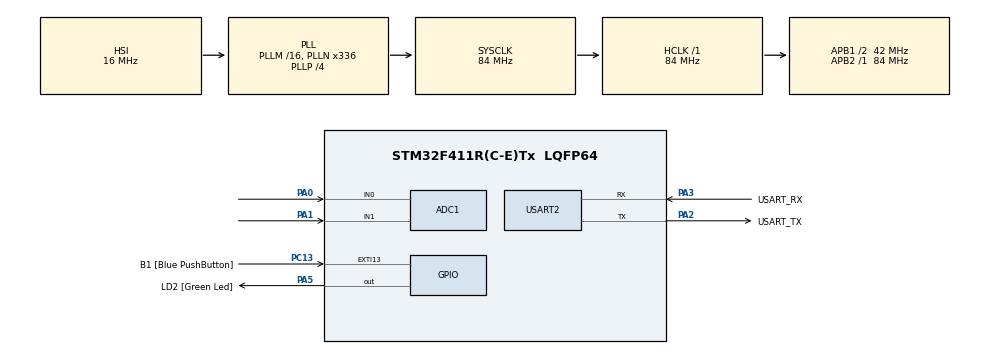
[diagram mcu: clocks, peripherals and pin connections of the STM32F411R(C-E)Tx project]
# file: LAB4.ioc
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ADC1.Channel-0\#ChannelRegularConversion=ADC_CHANNEL_0
ADC1.Channel-1\#ChannelRegularConversion=ADC_CHANNEL_1
ADC1.Channel-2\#ChannelRegularConversion=ADC_CHANNEL_TEMPSENSOR
ADC1.Channel-3\#ChannelRegularConversion=ADC_CHANNEL_VREFINT
ADC1.ContinuousConvMode=ENABLE
ADC1.DMAContinuousRequests=ENABLE
ADC1.NbrOfConversion=4
ADC1.NbrOfConversionFlag=1
ADC1.Rank-0\#ChannelRegularConversion=1
ADC1.Rank-1\#ChannelRegularConversion=2
ADC1.Rank-2\#ChannelRegularConversion=3
ADC1.Rank-3\#ChannelRegularConversion=4
ADC1.SamplingTime-0\#ChannelRegularConversion=ADC_SAMPLETIME_480CYCLES
ADC1.SamplingTime-1\#ChannelRegularConversion=ADC_SAMPLETIME_480CYCLES
ADC1.SamplingTime-2\#ChannelRegularConversion=ADC_SAMPLETIME_480CYCLES
ADC1.SamplingTime-3\#ChannelRegularConversion=ADC_SAMPLETIME_480CYCLES
ADC1.ScanConvMode=ENABLE
ADC1.master=1
Dma.ADC1.0.Direction=DMA_PERIPH_TO_MEMORY
Dma.ADC1.0.FIFOMode=DMA_FIFOMODE_DISABLE
Dma.ADC1.0.Instance=DMA2_Stream0
Dma.ADC1.0.MemDataAlignment=DMA_MDATAALIGN_WORD
Dma.ADC1.0.MemInc=DMA_MINC_ENABLE
Dma.ADC1.0.Mode=DMA_CIRCULAR
Dma.ADC1.0.PeriphDataAlignment=DMA_PDATAALIGN_WORD
Dma.ADC1.0.PeriphInc=DMA_PINC_DISABLE
Dma.ADC1.0.Priority=DMA_PRIORITY_LOW
Dma.Request0=ADC1
Mcu.Family=STM32F4
Mcu.Name=STM32F411R(C-E)Tx
Mcu.Package=LQFP64
NVIC.DMA2_Stream0_IRQn=true\:0\:0\:false\:false\:true\:false\:true
NVIC.EXTI15_10_IRQn=true\:0\:0\:false\:false\:true\:true\:true
NVIC.PriorityGroup=NVIC_PRIORITYGROUP_0
PA0-WKUP.Signal=ADCx_IN0
PA1.Signal=ADCx_IN1
PA13.GPIO_Label=TMS
PA13.Mode=Serial_Wire
PA13.Signal=SYS_JTMS-SWDIO
PA14.GPIO_Label=TCK
PA14.Mode=Serial_Wire
PA14.Signal=SYS_JTCK-SWCLK
PA2.GPIO_Label=USART_TX
PA2.Mode=Asynchronous
PA2.Signal=USART2_TX
PA3.GPIO_Label=USART_RX
PA3.Mode=Asynchronous
PA3.Signal=USART2_RX
PA5.GPIO_Label=LD2 [Green Led]
PA5.Signal=GPIO_Output
PB3.GPIO_Label=SWO
PB3.Signal=SYS_JTDO-SWO
PC13-ANTI_TAMP.GPIO_Label=B1 [Blue PushButton]
PC13-ANTI_TAMP.GPIO_ModeDefaultEXTI=GPIO_MODE_IT_RISING_FALLING
PC13-ANTI_TAMP.GPIO_PuPd=GPIO_PULLUP
PC13-ANTI_TAMP.Signal=GPXTI13
PC14-OSC32_IN.Mode=LSE-External-Oscillator
PC14-OSC32_IN.Signal=RCC_OSC32_IN
PC15-OSC32_OUT.Mode=LSE-External-Oscillator
PC15-OSC32_OUT.Signal=RCC_OSC32_OUT
PH0\ -\ OSC_IN.Mode=HSE-External-Clock-Source
PH0\ -\ OSC_IN.Signal=RCC_OSC_IN
PH1\ -\ OSC_OUT.Mode=HSE-External-Clock-Source
PH1\ -\ OSC_OUT.Signal=RCC_OSC_OUT
ProjectManager.HeapSize=0x200
ProjectManager.StackSize=0x400
ProjectManager.TargetToolchain=STM32CubeIDE
RCC.48MHZClocksFreq_Value=84000000
RCC.AHBFreq_Value=84000000
RCC.APB1CLKDivider=RCC_HCLK_DIV2
RCC.APB1Freq_Value=42000000
RCC.APB1TimFreq_Value=84000000
RCC.APB2Freq_Value=84000000
RCC.APB2TimFreq_Value=84000000
RCC.CortexFreq_Value=84000000
RCC.FLatency-AdvancedSettings=FLASH_LATENCY_2
RCC.HCLKFreq_Value=84000000
RCC.HSE_VALUE=8000000
RCC.HSI_VALUE=16000000
RCC.PLLN=336
RCC.PLLP=RCC_PLLP_DIV4
RCC.SYSCLKFreq_VALUE=84000000
RCC.SYSCLKSource=RCC_SYSCLKSOURCE_PLLCLK
RCC.VCOOutputFreq_Value=336000000
SH.ADCx_IN0.0=ADC1_IN0,IN0
SH.ADCx_IN1.0=ADC1_IN1,IN1
USART2.VirtualMode=VM_ASYNC
VP_ADC1_TempSens_Input.Mode=IN-TempSens
VP_ADC1_Vref_Input.Mode=IN-Vrefint
board=NUCLEO-F411RE

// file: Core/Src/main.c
/* USER CODE BEGIN Header */
/**
  ******************************************************************************
  * @file           : main.c
  * @brief          : Main program body
  ******************************************************************************
  * @attention
  *
  * <h2><center>&copy; Copyright (c) 2021 STMicroelectronics.
  * All rights reserved.</center></h2>
  *
  * This software component is licensed by ST under BSD 3-Clause license,
  * the "License"; You may not use this file except in compliance with the
  * License. You may obtain a copy of the License at:
  *                        opensource.org/licenses/BSD-3-Clause
  *
  ******************************************************************************
  */
/* USER CODE END Header */
#include "main.h"

ADC_HandleTypeDef hadc1;
DMA_HandleTypeDef hdma_adc1;

UART_HandleTypeDef huart2;

/* USER CODE BEGIN PV */
uint32_t ADCData[4] = {0}; //เ�?�?�?�?�?า�?�?ตัว�?�?ร
uint32_t timestamp = 0 ;
uint32_t timestamp2 = 0 ;
uint32_t timestamp3 = 0 ;
uint32_t timestamp4 = 0 ;
uint32_t timesum = 0 ;
int state = 0 ;
int mode = 0 ;
//GPIO_PinState Bluebutton[2] = 0 ;
/* USER CODE END PV */

void SystemClock_Config(void);
static void MX_GPIO_Init(void);
static void MX_DMA_Init(void);
static void MX_USART2_UART_Init(void);
static void MX_ADC1_Init(void);
/* USER CODE BEGIN PFP */
void Buttion();
void Button0();
void Buttion2() ;
/* USER CODE END PFP */

int main(void)
{

  /* MCU Configuration--------------------------------------------------------*/

  /* Reset of all peripherals, Initializes the Flash interface and the Systick. */
  HAL_Init();

  /* Configure the system clock */
  SystemClock_Config();

  /* Initialize all configured peripherals */
  MX_GPIO_Init();
  MX_DMA_Init();
  MX_USART2_UART_Init();
  MX_ADC1_Init();
  /* USER CODE BEGIN 2 */
  HAL_ADC_Start_DMA(&hadc1, ADCData, 4) ;
  HAL_GPIO_WritePin(GPIOA, GPIO_PIN_5, GPIO_PIN_SET);
  /* USER CODE END 2 */

  /* Infinite loop */
  /* USER CODE BEGIN WHILE */
  while (1)
  {

	  if(mode == 1){
		 if(HAL_GetTick() - timestamp >= timestamp2)
			{
				timestamp3 = HAL_GetTick() ;
				state = 1 ;
				HAL_GPIO_WritePin(GPIOA, GPIO_PIN_5, GPIO_PIN_SET);
				mode = 0 ;
			}

	 }
    /* USER CODE END WHILE */

  }
}

void SystemClock_Config(void)
{
  RCC_OscInitTypeDef RCC_OscInitStruct = {0};
  RCC_ClkInitTypeDef RCC_ClkInitStruct = {0};

  /** Configure the main internal regulator output voltage
  */
  __HAL_RCC_PWR_CLK_ENABLE();
  __HAL_PWR_VOLTAGESCALING_CONFIG(PWR_REGULATOR_VOLTAGE_SCALE1);
  /** Initializes the RCC Oscillators according to the specified parameters
  * in the RCC_OscInitTypeDef structure.
  */
  RCC_OscInitStruct.OscillatorType = RCC_OSCILLATORTYPE_HSI;
  RCC_OscInitStruct.HSIState = RCC_HSI_ON;
  RCC_OscInitStruct.HSICalibrationValue = RCC_HSICALIBRATION_DEFAULT;
  RCC_OscInitStruct.PLL.PLLState = RCC_PLL_ON;
  RCC_OscInitStruct.PLL.PLLSource = RCC_PLLSOURCE_HSI;
  RCC_OscInitStruct.PLL.PLLM = 16;
  RCC_OscInitStruct.PLL.PLLN = 336;
  RCC_OscInitStruct.PLL.PLLP = RCC_PLLP_DIV4;
  RCC_OscInitStruct.PLL.PLLQ = 4;
  if (HAL_RCC_OscConfig(&RCC_OscInitStruct) != HAL_OK)
  {
    Error_Handler();
  }
  /** Initializes the CPU, AHB and APB buses clocks
  */
  RCC_ClkInitStruct.ClockType = RCC_CLOCKTYPE_HCLK|RCC_CLOCKTYPE_SYSCLK
                              |RCC_CLOCKTYPE_PCLK1|RCC_CLOCKTYPE_PCLK2;
  RCC_ClkInitStruct.SYSCLKSource = RCC_SYSCLKSOURCE_PLLCLK;
  RCC_ClkInitStruct.AHBCLKDivider = RCC_SYSCLK_DIV1;
  RCC_ClkInitStruct.APB1CLKDivider = RCC_HCLK_DIV2;
  RCC_ClkInitStruct.APB2CLKDivider = RCC_HCLK_DIV1;

  if (HAL_RCC_ClockConfig(&RCC_ClkInitStruct, FLASH_LATENCY_2) != HAL_OK)
  {
    Error_Handler();
  }
}

static void MX_ADC1_Init(void)
{

  ADC_ChannelConfTypeDef sConfig = {0};

  /** Configure the global features of the ADC (Clock, Resolution, Data Alignment and number of conversion)
  */
  hadc1.Instance = ADC1;
  hadc1.Init.ClockPrescaler = ADC_CLOCK_SYNC_PCLK_DIV4;
  hadc1.Init.Resolution = ADC_RESOLUTION_12B;
  hadc1.Init.ScanConvMode = ENABLE;
  hadc1.Init.ContinuousConvMode = ENABLE;
  hadc1.Init.DiscontinuousConvMode = DISABLE;
  hadc1.Init.ExternalTrigConvEdge = ADC_EXTERNALTRIGCONVEDGE_NONE;
  hadc1.Init.ExternalTrigConv = ADC_SOFTWARE_START;
  hadc1.Init.DataAlign = ADC_DATAALIGN_RIGHT;
  hadc1.Init.NbrOfConversion = 4;
  hadc1.Init.DMAContinuousRequests = ENABLE;
  hadc1.Init.EOCSelection = ADC_EOC_SINGLE_CONV;
  if (HAL_ADC_Init(&hadc1) != HAL_OK)
  {
    Error_Handler();
  }
  /** Configure for the selected ADC regular channel its corresponding rank in the sequencer and its sample time.
  */
  sConfig.Channel = ADC_CHANNEL_0;
  sConfig.Rank = 1;
  sConfig.SamplingTime = ADC_SAMPLETIME_480CYCLES;
  if (HAL_ADC_ConfigChannel(&hadc1, &sConfig) != HAL_OK)
  {
    Error_Handler();
  }
  /** Configure for the selected ADC regular channel its corresponding rank in the sequencer and its sample time.
  */
  sConfig.Channel = ADC_CHANNEL_1;
  sConfig.Rank = 2;
  if (HAL_ADC_ConfigChannel(&hadc1, &sConfig) != HAL_OK)
  {
    Error_Handler();
  }
  /** Configure for the selected ADC regular channel its corresponding rank in the sequencer and its sample time.
  */
  sConfig.Channel = ADC_CHANNEL_TEMPSENSOR;
  sConfig.Rank = 3;
  if (HAL_ADC_ConfigChannel(&hadc1, &sConfig) != HAL_OK)
  {
    Error_Handler();
  }
  /** Configure for the selected ADC regular channel its corresponding rank in the sequencer and its sample time.
  */
  sConfig.Channel = ADC_CHANNEL_VREFINT;
  sConfig.Rank = 4;
  if (HAL_ADC_ConfigChannel(&hadc1, &sConfig) != HAL_OK)
  {
    Error_Handler();
  }

}

static void MX_USART2_UART_Init(void)
{

  huart2.Instance = USART2;
  huart2.Init.BaudRate = 115200;
  huart2.Init.WordLength = UART_WORDLENGTH_8B;
  huart2.Init.StopBits = UART_STOPBITS_1;
  huart2.Init.Parity = UART_PARITY_NONE;
  huart2.Init.Mode = UART_MODE_TX_RX;
  huart2.Init.HwFlowCtl = UART_HWCONTROL_NONE;
  huart2.Init.OverSampling = UART_OVERSAMPLING_16;
  if (HAL_UART_Init(&huart2) != HAL_OK)
  {
    Error_Handler();
  }

}

static void MX_DMA_Init(void)
{

  /* DMA controller clock enable */
  __HAL_RCC_DMA2_CLK_ENABLE();

  /* DMA interrupt init */
  /* DMA2_Stream0_IRQn interrupt configuration */
  HAL_NVIC_SetPriority(DMA2_Stream0_IRQn, 0, 0);
  HAL_NVIC_EnableIRQ(DMA2_Stream0_IRQn);

}

static void MX_GPIO_Init(void)
{
  GPIO_InitTypeDef GPIO_InitStruct = {0};

  /* GPIO Ports Clock Enable */
  __HAL_RCC_GPIOC_CLK_ENABLE();
  __HAL_RCC_GPIOH_CLK_ENABLE();
  __HAL_RCC_GPIOA_CLK_ENABLE();
  __HAL_RCC_GPIOB_CLK_ENABLE();

  /*Configure GPIO pin Output Level */
  HAL_GPIO_WritePin(LD2_GPIO_Port, LD2_Pin, GPIO_PIN_RESET);

  /*Configure GPIO pin : B1_Pin */
  GPIO_InitStruct.Pin = B1_Pin;
  GPIO_InitStruct.Mode = GPIO_MODE_IT_RISING_FALLING;
  GPIO_InitStruct.Pull = GPIO_PULLUP;
  HAL_GPIO_Init(B1_GPIO_Port, &GPIO_InitStruct);

  /*Configure GPIO pin : LD2_Pin */
  GPIO_InitStruct.Pin = LD2_Pin;
  GPIO_InitStruct.Mode = GPIO_MODE_OUTPUT_PP;
  GPIO_InitStruct.Pull = GPIO_NOPULL;
  GPIO_InitStruct.Speed = GPIO_SPEED_FREQ_LOW;
  HAL_GPIO_Init(LD2_GPIO_Port, &GPIO_InitStruct);

  /* EXTI interrupt init*/
  HAL_NVIC_SetPriority(EXTI15_10_IRQn, 0, 0);
  HAL_NVIC_EnableIRQ(EXTI15_10_IRQn);

}

/* USER CODE BEGIN 4 */
//GPIO_P
void HAL_GPIO_EXTI_Callback(uint16_t GPIO_Pin)
{
	if(GPIO_Pin == GPIO_PIN_13)
	{
	  //HAL_GPIO_TogglePin(LD2_GPIO_Port, LD2_Pin);
//	  timestamp = HAL_GetTick();
//	  HAL_GPIO_WritePin(GPIOA, GPIO_PIN_5, GPIO_PIN_RESET);
	  switch (state) {
		case 1:
			timestamp4 = HAL_GetTick();
			timesum = timestamp4 - timestamp3 ;
			mode = 0 ;
			state = 0 ;
			break;
		case 2:
			 HAL_GPIO_WritePin(GPIOA, GPIO_PIN_5, GPIO_PIN_SET);
			 mode = 0 ;
			 state = 0 ;

			break;
		default:
			 timestamp = HAL_GetTick();
			 HAL_GPIO_WritePin(GPIOA, GPIO_PIN_5, GPIO_PIN_RESET);
			 timestamp2 = 1000+((22695477*ADCData[0])+ADCData[1])%1000 ;
			 mode = 1 ;
			 state = 2 ;
			 break;
	  	  }

	}
}
void Button0()
{
	 state = (state%1)+1  ;
	 Buttion();
}
void Buttion()
{
    if(state == 1)
	{
		//HAL_GPIO_WritePin(GPIOA, GPIO_PIN_5, GPIO_PIN_SET);
		if(HAL_GPIO_ReadPin(GPIOC, GPIO_PIN_13) == GPIO_PIN_RESET)
		{
			HAL_GPIO_WritePin(GPIOA, GPIO_PIN_5, GPIO_PIN_RESET);
		//	do{time2 = HAL_GetTick() - timestamp ;}while(time2>= (1000+((22695477*ADCData[0])+ADCData[1])%1000) );
			if(HAL_GetTick() - timestamp >= (1000+((22695477*ADCData[0])+ADCData[1])%1000) )
			{
					timestamp = HAL_GetTick() ;
				HAL_GPIO_WritePin(GPIOA, GPIO_PIN_5, GPIO_PIN_SET);
					timestamp2 = 0 ;
			    state = 2 ;
			}

		}
	}
	if(state == 2)
	{
		Buttion2();
	}
}
void Buttion2()
{
	if( HAL_GPIO_ReadPin(GPIOA, GPIO_PIN_5) == GPIO_PIN_SET )
		{
		if(HAL_GPIO_ReadPin(GPIOC, GPIO_PIN_13) == GPIO_PIN_SET)
		{
			timestamp2 = HAL_GetTick() - timestamp ;
			state = 0 ;
		}
		}
	/*
	uint32_t time1 = 0 ;
	if( HAL_GPIO_ReadPin(GPIOA, GPIO_PIN_5) == GPIO_PIN_SET )
	{
		do
		{
		  time1 = (HAL_GetTick()%1)+1 ;
		  timestamp2 = timestamp2 + time1 ;
		}
		while(HAL_GPIO_ReadPin(GPIOC, GPIO_PIN_13) == GPIO_PIN_RESET);
	}
	if(HAL_GPIO_ReadPin(GPIOC, GPIO_PIN_13) == GPIO_PIN_SET)
	{
	 timestamp2 = timestamp2/1000 ;
	 state = 0 ;

	}*/
}

/* USER CODE END 4 */

void Error_Handler(void)
{
  __disable_irq();
  while (1)
  {
  }
}

/************************ (C) COPYRIGHT STMicroelectronics *****END OF FILE****/
